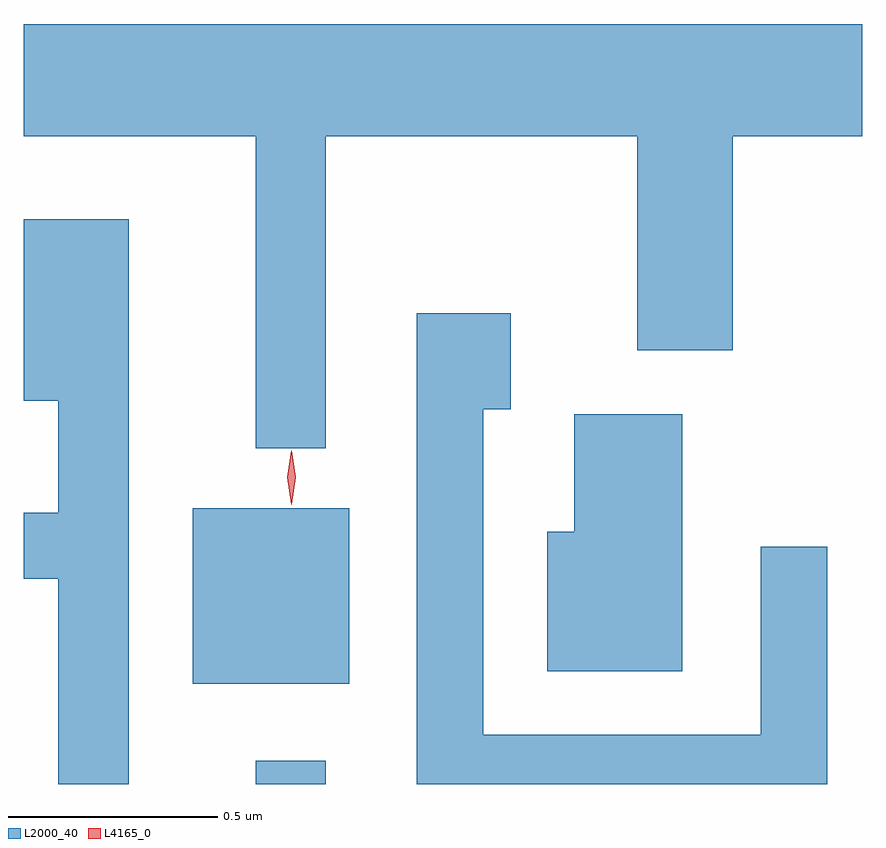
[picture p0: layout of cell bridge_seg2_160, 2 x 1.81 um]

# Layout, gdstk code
import gdstk
lib = gdstk.Library(unit=1e-6, precision=1e-09)
def R(c, l, rs):  # rectangles x0, y0, x1, y1
    for r in rs: c.add(gdstk.rectangle(r[:2], r[2:], *l))
def P(c, l, *ps):  # polygons
    for p in ps: c.add(gdstk.Polygon(p, *l))
L2000_40 = (2000, 40)
L4165_0 = (4165, 0)

bridge_seg2_160 = lib.new_cell('bridge_seg2_160')
R(bridge_seg2_160, L2000_40, [(699.601,1091.172,699.769,1091.228), (699.451,1091.411,699.824,1091.829)])
P(bridge_seg2_160, L2000_40, [(699.769,1092.716),(700.511,1092.716),(700.511,1092.206),(700.739,1092.206),(700.739,1092.716),(701.048,1092.716),(701.048,1092.984),(699.048,1092.984),(699.048,1092.716),(699.601,1092.716),(699.601,1091.973),(699.769,1091.973)],
  [(699.299,1092.519),(699.048,1092.519),(699.048,1092.086),(699.131,1092.086),(699.131,1091.819),(699.048,1091.819),(699.048,1091.661),(699.131,1091.661),(699.131,1091.172),(699.299,1091.172)],
  [(700.964,1091.738),(700.806,1091.738),(700.806,1091.289),(700.144,1091.289),(700.144,1092.066),(700.209,1092.066),(700.209,1092.294),(699.986,1092.294),(699.986,1091.172),(700.964,1091.172)],
  [(700.619,1092.054),(700.361,1092.054),(700.361,1091.774),(700.296,1091.774),(700.296,1091.441),(700.619,1091.441)])
P(bridge_seg2_160, L4165_0, [(699.687,1091.838),(699.686,1091.839),(699.677,1091.903),(699.686,1091.967),(699.687,1091.967),(699.687,1091.967),(699.697,1091.903),(699.687,1091.839)])

lib.write_gds('bridge_seg2_160.gds')
